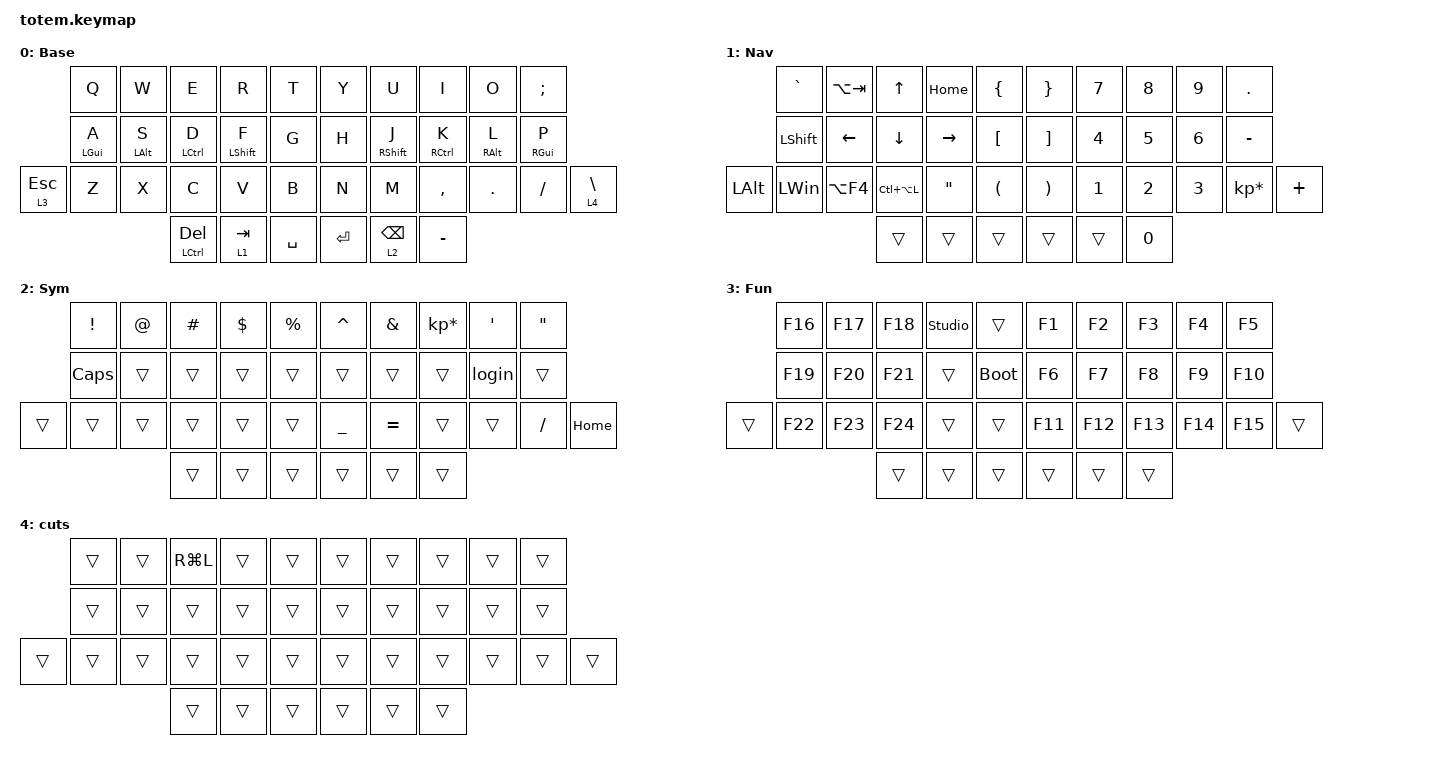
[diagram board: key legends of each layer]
//
//                                                        ▀▀▀▀▀     ▀▀▀▀▀          ▀▀█▀▀
//                                                        ▄▀▀▀▄  ▄  ▄▀▀▀▄  ▄  ▄▀▀▀▄  █  ▄▀▀▀▄
//                                                        █   █  █  █   █  █  █   █  █  █   █
//                                                         ▀▀▀   █   ▀▀▀   █   ▀▀▀   ▀   ▀▀▀
//                                                               █      ▄▄▄█▄▄▄    █   █  
//                                                               ▀      █  █  █     █▄█
//                                                             ▀▀▀▀▀    █  █  █      ▀
//                                                                      ▀  ▀  ▀
//
// ▄▄▄▄▄▄▄▄▄▄▄▄▄▄▄▄▄▄▄▄▄▄▄▄▄▄▄▄▄▄▄▄▄▄▄▄▄▄▄▄▄▄▄▄▄▄▄▄▄▄▄▄▄▄▄▄▄▄▄▄▄▄▄▄▄▄▄▄▄▄▄▄▄▄▄▄▄▄▄▄▄▄▄▄▄▄▄▄▄▄▄▄▄▄▄▄▄▄▄▄▄▄▄▄▄▄▄▄▄▄▄▄▄▄▄▄▄▄▄▄▄▄▄▄▄▄▄▄▄▄▄▄▄▄▄▄▄▄▄▄▄▄▄▄▄▄▄▄▄
// test

#include <behaviors.dtsi>
#include <dt-bindings/zmk/keys.h>

#define Base        0
#define Nav         1
#define Sym         2
#define Fun         3
#define Game        4
#define Gameplus    5

&mt {
    quick-tap-ms = <100>;
    global-quick-tap;
    flavor = "tap-preferred";
    tapping-term-ms = <170>;
};

&lt {
    tapping-term-ms = <240>;
    flavor = "balanced";
    quick-tap-ms = <150>;
};

/ {
    behaviors {
        hm: homerow_mods {
            compatible = "zmk,behavior-hold-tap";
            label = "HOMEROW_MODS";
            #binding-cells = <2>;
            flavor = "tap-preferred";
            tapping-term-ms = <200>;
            quick-tap-ms = <125>;
            global-quick-tap;
            bindings = <&kp>, <&kp>;
        };
    };

    combos { compatible = "zmk,combos"; };

    macros {
        login: login {
            compatible = "zmk,behavior-macro";
            #binding-cells = <0>;
            wait-ms = <40>;
            tap-ms = <40>;
            bindings = <&kp M &kp P &kp NUMBER_8 &kp NUMBER_0 &kp NUMBER_5 &kp NUMBER_3 &kp NUMBER_8>;
        };
    };

    keymap {
        compatible = "zmk,keymap";

        Base {
            display-name = "Base";
            bindings = <
              &kp Q       &kp W       &kp E          &kp R         &kp T        &kp Y    &kp U        &kp I        &kp O       &kp SEMICOLON
              &hm LGUI A  &hm LALT S  &hm LCTRL D    &hm LSHIFT F  &kp G        &kp H    &hm RSHFT J  &hm RCTRL K  &hm RALT L  &hm RGUI P
&lt 3 ESCAPE  &kp Z       &kp X       &kp C          &kp V         &kp B        &kp N    &kp M        &kp COMMA    &kp DOT     &kp SLASH      &lt 4 BACKSLASH
                                      &mt LCTRL DEL  &lt 1 TAB     &kp SPACE    &kp RET  &lt 2 BSPC   &kp MINUS
            >;
        };

        Nav {
            display-name = "Nav";
            bindings = <
              &kp GRAVE       &kp LA(TAB)  &kp UP_ARROW   &kp HOME           &kp LBRC    &kp RBRC  &kp NUMBER_7  &kp NUMBER_8  &kp NUMBER_9  &kp DOT
              &kp LEFT_SHIFT  &kp LEFT     &kp DOWN       &kp RIGHT          &kp LBKT    &kp RBKT  &kp NUMBER_4  &kp NUMBER_5  &kp NUMBER_6  &kp MINUS
&kp LEFT_ALT  &kp LEFT_WIN    &kp LA(F4)   &kp LC(LA(L))  &kp DOUBLE_QUOTES  &kp LPAR    &kp RPAR  &kp NUMBER_1  &kp NUMBER_2  &kp NUMBER_3  &kp KP_MULTIPLY  &kp PLUS
                                           &trans         &trans             &trans      &trans    &trans        &kp NUMBER_0
            >;
        };

        Sym {
            display-name = "Sym";
            bindings = <
        &kp EXCL  &kp AT  &kp HASH  &kp DOLLAR  &kp PERCENT    &kp CARET  &kp AMPERSAND  &kp KP_ASTERISK  &kp SQT  &kp DQT
        &kp CAPS  &trans  &trans    &trans      &trans         &trans     &trans         &trans           &login   &trans
&trans  &trans    &trans  &trans    &trans      &trans         &kp UNDER  &kp EQUAL      &trans           &trans   &kp SLASH  &kp HOME
                          &trans    &trans      &trans         &trans     &trans         &trans
            >;
        };

        Fun {
            display-name = "Fun";
            bindings = <
        &kp F16  &kp F17  &kp F18  &studio_unlock  &trans         &kp F1   &kp F2   &kp F3   &kp F4   &kp F5
        &kp F19  &kp F20  &kp F21  &trans          &bootloader    &kp F6   &kp F7   &kp F8   &kp F9   &kp F10
&trans  &kp F22  &kp F23  &kp F24  &trans          &trans         &kp F11  &kp F12  &kp F13  &kp F14  &kp F15  &trans
                          &trans   &trans          &trans         &trans   &trans   &trans
            >;
        };

        cuts {
            bindings = <
        &trans  &trans  &kp RG(L)  &trans  &trans    &trans  &trans  &trans  &trans  &trans
        &trans  &trans  &trans     &trans  &trans    &trans  &trans  &trans  &trans  &trans
&trans  &trans  &trans  &trans     &trans  &trans    &trans  &trans  &trans  &trans  &trans  &trans
                        &trans     &trans  &trans    &trans  &trans  &trans
            >;
        };
    };
};
